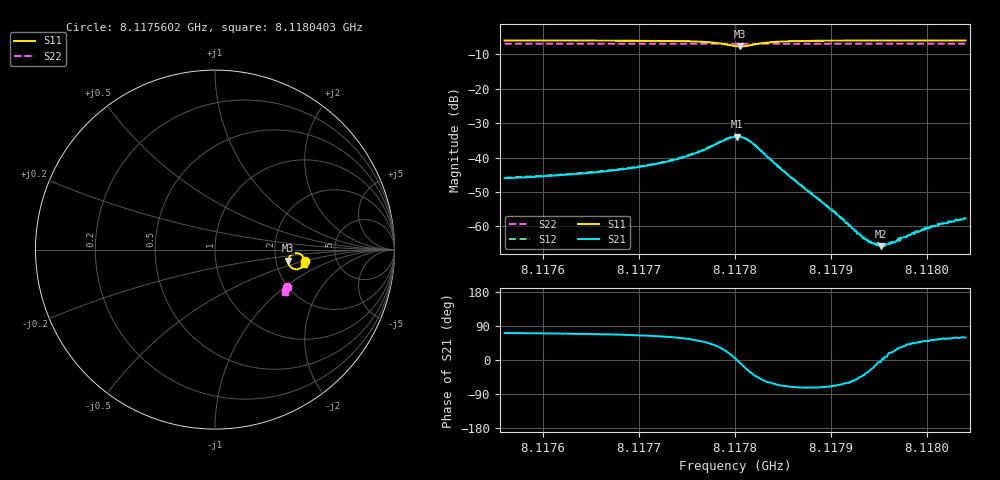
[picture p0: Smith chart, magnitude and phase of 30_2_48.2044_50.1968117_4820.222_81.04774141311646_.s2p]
#  HZ  S  RI  R  50.00
! Rohde & Schwarz Vector Network Analyzer
! Rohde-Schwarz,ZNB20-2Port,1311601062101988,3.16
! Created: UTC 3/20/2024, 11:37:19 AM
! freq[Hz]  re:S11  im:S11  re:S21  im:S21  re:S12  im:S12  re:S22  im:S22
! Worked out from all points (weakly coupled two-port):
!   401 points, 8.1175602 GHz to 8.1180403 GHz, reference 50 ohm
!   highest |S21| = -33.89 dB at 8.1178026 GHz (marker M1); lowest = -65.7 dB at 8.1179526 GHz (marker M2)
!   lowest |S11| = -7.7 dB at 8.117805 GHz (marker M3), VSWR 2.41, Z = 117 - j17.3 ohm
!   |S11| at or under -10 dB: nowhere
!   |S22| runs from -7.0 to -6.9 dB; largest |S21 - S12| = 0.00058
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8.11756021e9  0.5008 -0.0635  0.00161 0.00475  0.00168 0.00481  0.4028 -0.2059
8.11764062e9  0.4985 -0.0734  0.0021 0.00549  0.00222 0.00556  0.4003 -0.2112
8.11768862e9  0.4955 -0.0815  0.00281 0.00633  0.00295 0.00641  0.3988 -0.2144
8.11772103e9  0.4912 -0.0891  0.00382 0.00733  0.00394 0.0074  0.3975 -0.2167
8.11775583e9  0.4793 -0.1015  0.0066 0.00902  0.00682 0.00917  0.3957 -0.2189
8.11778463e9  0.4437 -0.109  0.0141 0.00899  0.0145 0.009  0.3933 -0.2206
8.11780023e9  0.4105 -0.0798  0.0201 0.00157  0.0205 0.00134  0.3917 -0.22
8.11780263e9  0.4083 -0.0709  0.0202 -0.000474  0.0204 -0.000598  0.3917 -0.2197
8.11780503e9  0.4081 -0.0614  0.0198 -0.00236  0.0202 -0.00277  0.3917 -0.2194
8.11781104e9  0.4158 -0.0395  0.0175 -0.00674  0.0178 -0.0072  0.3921 -0.2187
8.11781824e9  0.4351 -0.0236  0.0131 -0.00951  0.0132 -0.00986  0.3928 -0.2188
8.11784104e9  0.4798 -0.0287  0.00374 -0.00738  0.00374 -0.00767  0.3941 -0.221
8.11788064e9  0.4963 -0.0514  0.000864 -0.00276  0.000886 -0.00283  0.3933 -0.2244
8.11790584e9  0.4983 -0.0596  0.000588 -0.00139  0.000584 -0.00145  0.3926 -0.2264
8.11793465e9  0.4989 -0.0662  0.000502 -0.000431  0.000521 -0.000466  0.3916 -0.2283
8.11794065e9  0.4991 -0.0673  0.000533 -0.000273  0.000536 -0.000262  0.3914 -0.2287
8.11795025e9  0.4991 -0.0691  0.000531 -5.53e-05  0.000544 -5.53e-05  0.3911 -0.2293
8.11795265e9  0.4991 -0.0695  0.000516 -1.47e-05  0.000555 -1.72e-06  0.391 -0.2295
8.11796105e9  0.499 -0.0707  0.000524 0.000181  0.000563 0.000165  0.3908 -0.2301
8.11799825e9  0.4988 -0.0761  0.000596 0.000718  0.000619 0.000704  0.3892 -0.2325
8.11801626e9  0.4986 -0.0784  0.000613 0.000925  0.000602 0.000923  0.3886 -0.2337
8.11804026e9  0.4983 -0.0812  0.000667 0.00111  0.000678 0.00113  0.3879 -0.2352
